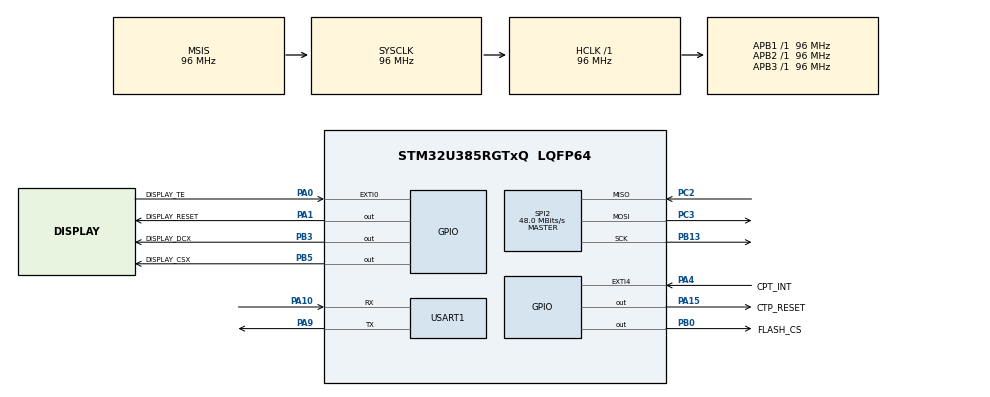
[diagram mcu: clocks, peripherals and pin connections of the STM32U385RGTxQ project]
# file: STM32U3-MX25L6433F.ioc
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CORTEX_M33_NS.userName=CORTEX_M33
GPDMA1.DESTINC_GPDMACH1=DMA_DINC_INCREMENTED
GPDMA1.DIRECTION_GPDMACH2=DMA_MEMORY_TO_PERIPH
GPDMA1.IPHANDLE_GPDMACH1-SIMPLEREQUEST_GPDMACH1=__NULL
GPDMA1.IPHANDLE_GPDMACH2-SIMPLEREQUEST_GPDMACH2=__NULL
GPDMA1.PRIORITY_GPDMACH1=DMA_LOW_PRIORITY_MID_WEIGHT
GPDMA1.REQUEST_GPDMACH1=GPDMA1_REQUEST_SPI2_RX
GPDMA1.REQUEST_GPDMACH2=GPDMA1_REQUEST_SPI2_TX
GPDMA1.SRCINC_GPDMACH2=DMA_SINC_INCREMENTED
Mcu.Family=STM32U3
Mcu.Name=STM32U385RGTxQ
Mcu.Package=LQFP64
NVIC.EXTI0_IRQn=true\:0\:0\:false\:false\:true\:true\:true\:true
NVIC.EXTI4_IRQn=true\:0\:0\:false\:false\:true\:true\:true\:true
NVIC.GPDMA1_Channel1_IRQn=true\:0\:0\:false\:false\:true\:false\:true\:true
NVIC.GPDMA1_Channel2_IRQn=true\:0\:0\:false\:false\:true\:false\:true\:true
NVIC.PriorityGroup=NVIC_PRIORITYGROUP_4
NVIC.SPI2_IRQn=true\:0\:0\:false\:false\:true\:true\:true\:true
PA0.GPIO_Label=DISPLAY_TE
PA0.GPIO_ModeDefaultEXTI=GPIO_MODE_IT_FALLING
PA0.Signal=GPXTI0
PA1.GPIO_Label=DISPLAY_RESET
PA1.GPIO_PuPd=GPIO_PULLUP
PA1.GPIO_Speed=GPIO_SPEED_FREQ_HIGH
PA1.Signal=GPIO_Output
PA10.Mode=Asynchronous
PA10.Signal=USART1_RX
PA13\ (JTMS/SWDIO).GPIO_Label=DEBUG_JTMS-SWDIO
PA13\ (JTMS/SWDIO).Signal=DEBUG_JTMS-SWDIO
PA14\ (JTCK/SWCLK).GPIO_Label=DEBUG_JTCK-SWCLK
PA14\ (JTCK/SWCLK).Signal=DEBUG_JTCK-SWCLK
PA15\ (JTDI).GPIO_Label=CTP_RESET
PA15\ (JTDI).Signal=GPIO_Output
PA4.GPIO_Label=CPT_INT
PA4.Signal=GPXTI4
PA5.GPIO_PuPd=GPIO_PULLDOWN
PA5.GPIO_Speed=GPIO_SPEED_FREQ_HIGH
PA5.Signal=SPI1_SCK
PA9.Mode=Asynchronous
PA9.Signal=USART1_TX
PB0.GPIO_Label=FLASH_CS
PB0.GPIO_Speed=GPIO_SPEED_FREQ_VERY_HIGH
PB0.PinState=GPIO_PIN_SET
PB0.Signal=GPIO_Output
PB10.GPIO_Pu=GPIO_PULLUP
PB10.GPIO_Speed=GPIO_SPEED_FREQ_HIGH
PB10.Signal=I2C2_SCL
PB13.GPIO_PuPd=GPIO_PULLDOWN
PB13.GPIO_Speed=GPIO_SPEED_FREQ_HIGH
PB13.Mode=Full_Duplex_Master
PB13.Signal=SPI2_SCK
PB14.GPIO_Pu=GPIO_PULLUP
PB14.GPIO_Speed=GPIO_SPEED_FREQ_HIGH
PB14.Signal=I2C2_SDA
PB3\ (JTDO/TRACESWO).GPIO_Label=DISPLAY_DCX
PB3\ (JTDO/TRACESWO).GPIO_PuPd=GPIO_PULLUP
PB3\ (JTDO/TRACESWO).GPIO_Speed=GPIO_SPEED_FREQ_VERY_HIGH
PB3\ (JTDO/TRACESWO).PinState=GPIO_PIN_SET
PB3\ (JTDO/TRACESWO).Signal=GPIO_Output
PB5.GPIO_Label=DISPLAY_CSX
PB5.GPIO_PuPd=GPIO_PULLUP
PB5.GPIO_Speed=GPIO_SPEED_FREQ_VERY_HIGH
PB5.PinState=GPIO_PIN_SET
PB5.Signal=GPIO_Output
PC14-OSC32_IN\ (PC14).GPIO_Label=RCC_OSC32_IN
PC14-OSC32_IN\ (PC14).Mode=LSE-External-Oscillator
PC14-OSC32_IN\ (PC14).Signal=RCC_OSC32_IN
PC15-OSC32_OUT\ (PC15).GPIO_Label=RCC_OSC32_OUT
PC15-OSC32_OUT\ (PC15).Mode=LSE-External-Oscillator
PC15-OSC32_OUT\ (PC15).Signal=RCC_OSC32_OUT
PC2.GPIO_PuPd=GPIO_PULLDOWN
PC2.GPIO_Speed=GPIO_SPEED_FREQ_HIGH
PC2.Mode=Full_Duplex_Master
PC2.Signal=SPI2_MISO
PC3.GPIO_PuPd=GPIO_PULLDOWN
PC3.GPIO_Speed=GPIO_SPEED_FREQ_HIGH
PC3.Mode=Full_Duplex_Master
PC3.Signal=SPI2_MOSI
PH0-OSC_IN\ (PH0).Mode=HSE-External-Clock-Source
PH0-OSC_IN\ (PH0).Signal=RCC_OSC_IN
ProjectManager.HeapSize=0x200
ProjectManager.StackSize=0x400
ProjectManager.TargetToolchain=STM32CubeIDE
RCC.ADCFreq_Value=96000000
RCC.AHBFreq_Value=96000000
RCC.APB1Freq_Value=96000000
RCC.APB1TimFreq_Value=96000000
RCC.APB2Freq_Value=96000000
RCC.APB2TimFreq_Value=96000000
RCC.APB3Freq_Value=96000000
RCC.CortexFreq_Value=12000000
RCC.HCLKFreq_Value=96000000
RCC.HSE_VALUE=16000000
RCC.HSI48_VALUE=48000000
RCC.HSI_VALUE=16000000
RCC.LSIDIV_VALUE=32000
RCC.MSISDIV=RCC_MSI_DIV1
RCC.SYSCLKFreq_VALUE=96000000
RCC.USBFreq_Value=48000000
RCC.USB_DIV=RCC_USB1CLKSOURCE_ICLK_DIV2
SPI2.BaudRatePrescaler=SPI_BAUDRATEPRESCALER_2
SPI2.CalculateBaudRate=48.0 MBits/s
SPI2.DataSize=SPI_DATASIZE_8BIT
SPI2.Direction=SPI_DIRECTION_2LINES
SPI2.Mode=SPI_MODE_MASTER
SPI2.VirtualType=VM_MASTER
TIM2.PeriodNoDither=65535
TIM2.Prescaler=3780
TIM2.TIM_MasterOutputTrigger=TIM_TRGO_ENABLE
USART1.VirtualMode-Asynchronous=VM_ASYNC
VP_CRC_VS_CRC.Mode=CRC_Activate
VP_GPDMA1_VS_GPDMACH1.Mode=SIMPLEREQUEST_GPDMACH1
VP_GPDMA1_VS_GPDMACH2.Mode=SIMPLEREQUEST_GPDMACH2
VP_ICACHE_VS_ICACHE.Mode=DirectMappedCache
VP_MEMORYMAP_VS_MEMORYMAP.Mode=CurAppReg
VP_PWR_VS_DBSignals.Mode=DisableDeadBatterySignals
VP_PWR_VS_LPOM.Mode=PowerOptimisation
VP_PWR_VS_SECSignals.Mode=Security/Privilege
VP_TIM2_VS_ClockSourceINT.Mode=Internal
board=NUCLEO-U385RG-Q

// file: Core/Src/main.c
/* USER CODE BEGIN Header */
/**
 ******************************************************************************
 * @file           : main.c
 * @brief          : Main program body
 ******************************************************************************
 * @attention
 *
 * Copyright (c) 2025 STMicroelectronics.
 * All rights reserved.
 *
 * This software is licensed under terms that can be found in the LICENSE file
 * in the root directory of this software component.
 * If no LICENSE file comes with this software, it is provided AS-IS.
 *
 ******************************************************************************
 */
/* USER CODE END Header */
#include "main.h"
#include "crc.h"
#include "gpdma.h"
#include "icache.h"
#include "spi.h"
#include "tim.h"
#include "usart.h"
#include "gpio.h"

void SystemClock_Config(void);
/* USER CODE BEGIN PFP */

// External Loader fonksiyon prototipleri
extern int Init(void);
extern int Read(uint32_t Address, uint32_t Size, uint8_t *buffer);
extern int Write(uint32_t Address, uint32_t Size, uint8_t *buffer);
extern int SectorErase(uint32_t EraseStartAddress, uint32_t EraseEndAddress);
extern int MassErase(void);
extern uint32_t CheckSum(uint32_t StartAddress, uint32_t Size, uint32_t InitVal);
extern uint64_t Verify(uint32_t MemoryAddr, uint32_t RAMBufferAddr, uint32_t Size, uint32_t missalignement);

// Test fonksiyonu
void Test_External_Loader_Functions(void);
void Test_External_Loader_Extended(void);

int my_memcmp(void *dest, void *src, int size)
{
  unsigned char *p = dest;
  unsigned char *q = src;

  while (size > 0)
  {
    if (*p != *q)
    {
      return (*p - *q);
    }
    size--;
    p++;
    q++;
  }
  return 0;
}

#ifdef __GNUC__
#define PUTCHAR_PROTOTYPE int __io_putchar(int ch)
#else
#define PUTCHAR_PROTOTYPE int fputc(int ch, FiLE *f)
#endif

PUTCHAR_PROTOTYPE
{
  HAL_UART_Transmit(&huart1, (uint8_t *)&ch, 1, HAL_MAX_DELAY);
  return ch;
}

/* USER CODE END PFP */

int main(void)
{

  /* MCU Configuration--------------------------------------------------------*/

  /* Reset of all peripherals, Initializes the Flash interface and the Systick. */
  HAL_Init();

  /* Configure the system clock */
  SystemClock_Config();

  /* Initialize all configured peripherals */
  MX_GPIO_Init();
  MX_GPDMA1_Init();
  MX_SPI2_Init();
  MX_TIM2_Init();
  MX_ICACHE_Init();
  MX_CRC_Init();
  MX_USART1_UART_Init();

  /* Infinite loop */
  while (1)
  {

  }
}

void SystemClock_Config(void)
{
  RCC_OscInitTypeDef RCC_OscInitStruct = {0};
  RCC_ClkInitTypeDef RCC_ClkInitStruct = {0};

  /** Enable Epod Booster
  */
  if (HAL_RCCEx_EpodBoosterClkConfig(RCC_EPODBOOSTER_SOURCE_MSIS, RCC_EPODBOOSTER_DIV1) != HAL_OK)
  {
    Error_Handler();
  }
  if (HAL_PWREx_EnableEpodBooster() != HAL_OK)
  {
    Error_Handler();
  }

  /** Configure the main internal regulator output voltage
  */
  if (HAL_PWREx_ControlVoltageScaling(PWR_REGULATOR_VOLTAGE_SCALE1) != HAL_OK)
  {
    Error_Handler();
  }

  /** Set Flash latency before increasing MSIS
  */
  __HAL_FLASH_SET_LATENCY(FLASH_LATENCY_2);

  /** Initializes the CPU, AHB and APB buses clocks
  */
  RCC_OscInitStruct.OscillatorType = RCC_OSCILLATORTYPE_MSIS;
  RCC_OscInitStruct.MSISState = RCC_MSI_ON;
  RCC_OscInitStruct.MSISSource = RCC_MSI_RC0;
  RCC_OscInitStruct.MSISDiv = RCC_MSI_DIV1;
  if (HAL_RCC_OscConfig(&RCC_OscInitStruct) != HAL_OK)
  {
    Error_Handler();
  }

  /** Initializes the CPU, AHB and APB buses clocks
  */
  RCC_ClkInitStruct.ClockType = RCC_CLOCKTYPE_HCLK|RCC_CLOCKTYPE_SYSCLK
                              |RCC_CLOCKTYPE_PCLK1|RCC_CLOCKTYPE_PCLK2
                              |RCC_CLOCKTYPE_PCLK3;
  RCC_ClkInitStruct.SYSCLKSource = RCC_SYSCLKSOURCE_MSIS;
  RCC_ClkInitStruct.AHBCLKDivider = RCC_SYSCLK_DIV1;
  RCC_ClkInitStruct.APB1CLKDivider = RCC_HCLK_DIV1;
  RCC_ClkInitStruct.APB2CLKDivider = RCC_HCLK_DIV1;
  RCC_ClkInitStruct.APB3CLKDivider = RCC_HCLK_DIV1;

  if (HAL_RCC_ClockConfig(&RCC_ClkInitStruct, FLASH_LATENCY_2) != HAL_OK)
  {
    Error_Handler();
  }
}

void Error_Handler(void)
{
  __disable_irq();
  while (1)
  {
  }
}
